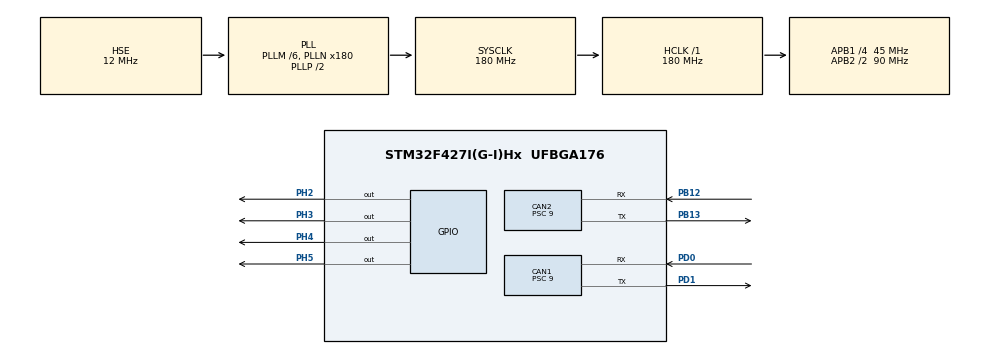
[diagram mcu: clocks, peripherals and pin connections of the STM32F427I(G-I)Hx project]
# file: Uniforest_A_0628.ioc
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CAN1.BS1=CAN_BS1_2TQ
CAN1.BS2=CAN_BS2_2TQ
CAN1.CalculateBaudRate=1000000
CAN1.CalculateTimeBit=1000
CAN1.CalculateTimeQuantum=200.0
CAN1.Prescaler=9
CAN2.BS1=CAN_BS1_2TQ
CAN2.BS2=CAN_BS2_2TQ
CAN2.CalculateBaudRate=1000000
CAN2.CalculateTimeBit=1000
CAN2.CalculateTimeQuantum=200.0
CAN2.Prescaler=9
Mcu.Family=STM32F4
Mcu.Name=STM32F427I(G-I)Hx
Mcu.Package=UFBGA176
NVIC.PriorityGroup=NVIC_PRIORITYGROUP_4
PA13.Mode=Serial_Wire
PA13.Signal=SYS_JTMS-SWDIO
PA14.Mode=Serial_Wire
PA14.Signal=SYS_JTCK-SWCLK
PB12.Mode=CAN_Activate
PB12.Signal=CAN2_RX
PB13.Mode=CAN_Activate
PB13.Signal=CAN2_TX
PD0.Mode=CAN_Activate
PD0.Signal=CAN1_RX
PD1.Mode=CAN_Activate
PD1.Signal=CAN1_TX
PH0/OSC_IN.Mode=HSE-External-Oscillator
PH0/OSC_IN.Signal=RCC_OSC_IN
PH1/OSC_OUT.Mode=HSE-External-Oscillator
PH1/OSC_OUT.Signal=RCC_OSC_OUT
PH2.GPIO_PuPd=GPIO_PULLUP
PH2.Signal=GPIO_Output
PH3.GPIO_PuPd=GPIO_PULLUP
PH3.Signal=GPIO_Output
PH4.GPIO_PuPd=GPIO_PULLUP
PH4.Signal=GPIO_Output
PH5.GPIO_PuPd=GPIO_PULLUP
PH5.Signal=GPIO_Output
ProjectManager.HeapSize=0x200
ProjectManager.StackSize=0x400
ProjectManager.TargetToolchain=CMake
RCC.48MHZClocksFreq_Value=90000000
RCC.AHBFreq_Value=180000000
RCC.APB1CLKDivider=RCC_HCLK_DIV4
RCC.APB1Freq_Value=45000000
RCC.APB1TimFreq_Value=90000000
RCC.APB2CLKDivider=RCC_HCLK_DIV2
RCC.APB2Freq_Value=90000000
RCC.APB2TimFreq_Value=180000000
RCC.CortexFreq_Value=180000000
RCC.HCLKFreq_Value=180000000
RCC.HSE_VALUE=12000000
RCC.HSI_VALUE=16000000
RCC.LSE_VALUE=32768
RCC.PLLM=6
RCC.PLLN=180
RCC.PLLSourceVirtual=RCC_PLLSOURCE_HSE
RCC.SYSCLKFreq_VALUE=180000000
RCC.SYSCLKSource=RCC_SYSCLKSOURCE_PLLCLK
RCC.VCOOutputFreq_Value=360000000
board=custom

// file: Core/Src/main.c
/* USER CODE BEGIN Header */
/**
  ******************************************************************************
  * @file           : main.c
  * @brief          : Main program body
  ******************************************************************************
  * @attention
  *
  * Copyright (c) 2026 STMicroelectronics.
  * All rights reserved.
  *
  * This software is licensed under terms that can be found in the LICENSE file
  * in the root directory of this software component.
  * If no LICENSE file comes with this software, it is provided AS-IS.
  *
  ******************************************************************************
  */
/* USER CODE END Header */
#include "main.h"
#include "can.h"
#include "gpio.h"

/* USER CODE BEGIN Includes */
#include "motor3508.h"
#include "remote_control.h"
#include "servo.h"
#include "stepper.h"
#include "actions.h"
#include "imu.h"
/* USER CODE END Includes */

/* USER CODE BEGIN PD */

/* ---- Control Timing ---- */
#define PID_DT               0.001f /* PID loop period: 1 ms (1000 Hz) */

/* USER CODE END PD */

/* USER CODE BEGIN PV */

static TIM_HandleTypeDef buzzer_tim = { .Instance = TIM12 };
static uint8_t  g_ch6_armed   = 1;   /* CH6 centre → armed; action/RC-key → disarmed */
static uint8_t  g_ch6_trig_cnt = 0;  /* trigger debounce: consecutive action-zone samples */
#define CH6_TRIG_DEBOUNCE_CNT   2    /* ~20 ms stable in action zone before firing */

/* USER CODE END PV */

void SystemClock_Config(void);

int main(void)
{

  /* MCU Configuration--------------------------------------------------------*/

  /* Reset of all peripherals, Initializes the Flash interface and the Systick. */
  HAL_Init();

  /* Configure the system clock */
  SystemClock_Config();

  /* Initialize all configured peripherals */
  MX_GPIO_Init();
  MX_CAN1_Init();
  MX_CAN2_Init();
  /* USER CODE BEGIN 2 */

  /* ---- Initialize Chassis Motors (CAN1 + DC24V power) ---- */
  Motor3508_Init();

  /* ---- Initialize Servos (TIM2 + TIM5 PWM, 50 Hz) ---- */
  Servo_Init();

  /* ---- Initialize Stepper Motors (GPIO) ---- */
  Stepper_Init();

  /* ---- A-board LEDs: RED=PE11, GREEN=PF14 (active-low: 0=ON) ---- */
  {
      GPIO_InitTypeDef l = {0};
      l.Mode  = GPIO_MODE_OUTPUT_PP;
      l.Pull  = GPIO_NOPULL;
      l.Speed = GPIO_SPEED_FREQ_LOW;

      __HAL_RCC_GPIOE_CLK_ENABLE();
      l.Pin = GPIO_PIN_11;
      HAL_GPIO_Init(GPIOE, &l);
      HAL_GPIO_WritePin(GPIOE, GPIO_PIN_11, GPIO_PIN_SET);  /* off */

      __HAL_RCC_GPIOF_CLK_ENABLE();
      l.Pin = GPIO_PIN_14;
      HAL_GPIO_Init(GPIOF, &l);
      HAL_GPIO_WritePin(GPIOF, GPIO_PIN_14, GPIO_PIN_SET);  /* off */
  }

  /* Allow everything to stabilize (C620 self-check already done in Motor3508_Init) */
  HAL_Delay(1000);

  /* Home all servos to idle positions */
  Actions_ServoHome();

  /* ---- Initialize JY61P IMU (USART2, PD5=TX, PD6=RX) ---- */
  uint8_t imu_status = IMU_Init();
  if (imu_status != IMU_OK)
  {
      for (uint8_t i = 0; i < imu_status; i++)
      {
          HAL_GPIO_WritePin(GPIOE, GPIO_PIN_11, GPIO_PIN_RESET);
          HAL_Delay(80);
          HAL_GPIO_WritePin(GPIOE, GPIO_PIN_11, GPIO_PIN_SET);
          HAL_Delay(80);
      }
  }
  else
  {
      uint32_t imu_t0 = HAL_GetTick();
      while (!IMU_IsReady() && (HAL_GetTick() - imu_t0 < 500))
      {
          IMU_Update();
          HAL_Delay(5);
      }
      if (IMU_IsReady())
      {
          HAL_GPIO_WritePin(GPIOF, GPIO_PIN_14, GPIO_PIN_RESET);
          HAL_Delay(200);
          HAL_GPIO_WritePin(GPIOF, GPIO_PIN_14, GPIO_PIN_SET);
      }
  }

  /* ---- Initialize RC SBUS receiver ---- */
  Remote_Control_Init();

  /* ---- Ready: green LED flash ---- */
  HAL_GPIO_WritePin(GPIOF, GPIO_PIN_14, GPIO_PIN_RESET);
  HAL_Delay(200);
  HAL_GPIO_WritePin(GPIOF, GPIO_PIN_14, GPIO_PIN_SET);

  /* ---- Buzzer: PH6 = TIM12_CH1, 3 kHz PWM ---- */
  {
      __HAL_RCC_TIM12_CLK_ENABLE();
      __HAL_RCC_GPIOH_CLK_ENABLE();

      GPIO_InitTypeDef g = {0};
      g.Mode      = GPIO_MODE_AF_PP;
      g.Pull      = GPIO_NOPULL;
      g.Speed     = GPIO_SPEED_FREQ_LOW;
      g.Alternate = GPIO_AF9_TIM12;
      g.Pin       = GPIO_PIN_6;
      HAL_GPIO_Init(GPIOH, &g);

      buzzer_tim.Init.Prescaler         = 29;       /* 90 MHz / 30 = 3 MHz */       /* 180 MHz / 60 = 3 MHz */
      buzzer_tim.Init.CounterMode       = TIM_COUNTERMODE_UP;
      buzzer_tim.Init.Period            = 999;      /* 3 MHz / 1000 = 3 kHz */
      buzzer_tim.Init.ClockDivision     = TIM_CLOCKDIVISION_DIV1;
      buzzer_tim.Init.AutoReloadPreload = TIM_AUTORELOAD_PRELOAD_ENABLE;
      HAL_TIM_PWM_Init(&buzzer_tim);

      TIM_OC_InitTypeDef oc = {0};
      oc.OCMode     = TIM_OCMODE_PWM1;
      oc.Pulse      = 500;                         /* 50% duty */
      oc.OCPolarity = TIM_OCPOLARITY_HIGH;
      oc.OCFastMode = TIM_OCFAST_DISABLE;
      HAL_TIM_PWM_ConfigChannel(&buzzer_tim, &oc, TIM_CHANNEL_1);
  }

  /* ---- Arming Phase 1: sticks to corners (CH1+CH2+CH4 > 1900us), CH6 1400-1600us ---- */
  while (1)
  {
      Motor3508_RxPoll();
      IMU_Update();
      if (SBUS_IsValid())
      {
          uint16_t ch6 = SBUS_GetChannel(5);
          if (SBUS_GetChannel(1) > SBUS_ARM_THRESHOLD &&   /* CH2: forward */
              SBUS_GetChannel(0) > SBUS_ARM_THRESHOLD &&   /* CH1: lateral */
              SBUS_GetChannel(3) > SBUS_ARM_THRESHOLD &&   /* CH4: rotation */
              ch6 > SBUS_CH6_ARM_LOW &&                     /* CH6 > 1400us */
              ch6 < SBUS_CH6_ARM_HIGH)                      /* CH6 < 1600us */
              break;
      }
      HAL_Delay(10);
  }

  /* ---- Arming Phase 2: sticks return to center (1024 ± 200), CH6 1400-1600us ---- */
  while (1)
  {
      Motor3508_RxPoll();
      IMU_Update();
      if (SBUS_IsValid())
      {
          uint16_t ch1 = SBUS_GetChannel(0);
          uint16_t ch2 = SBUS_GetChannel(1);
          uint16_t ch3 = SBUS_GetChannel(2);
          uint16_t ch4 = SBUS_GetChannel(3);
          uint16_t ch6 = SBUS_GetChannel(5);
          if (ch1 > 824 && ch1 < 1224 &&
              ch2 > 824 && ch2 < 1224 &&
              ch3 > 824 && ch3 < 1224 &&
              ch4 > 824 && ch4 < 1224 &&
              ch6 > SBUS_CH6_ARM_LOW &&
              ch6 < SBUS_CH6_ARM_HIGH)
              break;
      }
      HAL_Delay(10);
  }

  /* Armed: buzzer beep 200 ms */
  HAL_TIM_PWM_Start(&buzzer_tim, TIM_CHANNEL_1);
  HAL_Delay(200);
  HAL_TIM_PWM_Stop(&buzzer_tim, TIM_CHANNEL_1);

  /* USER CODE END 2 */

  /* Infinite loop */
  while (1)
  {

    /* USER CODE BEGIN 3 */

    /* ---- Poll CAN and IMU ---- */
    Motor3508_RxPoll();
    IMU_Update();

    /* ---- CH6 mode dispatch ---- */
    if (SBUS_IsValid())
    {
        uint16_t ch6 = SBUS_GetChannel(5);

        /* Arm when CH6 is in the centre safe zone (action wait-loop already debounces) */
        if (ch6 > SBUS_CH6_ARM_LOW && ch6 < SBUS_CH6_ARM_HIGH)
            g_ch6_armed = 1;

        if (ch6 > SBUS_CH6_HIGH)
        {
            /* Grap zone — debounced trigger */
            if (g_ch6_armed)
            {
                if (g_ch6_trig_cnt < CH6_TRIG_DEBOUNCE_CNT)
                    g_ch6_trig_cnt++;
                if (g_ch6_trig_cnt >= CH6_TRIG_DEBOUNCE_CNT)
                {
                    g_ch6_armed    = 0;
                    g_ch6_trig_cnt = 0;
                    Actions_Grap();
                }
            }
        }
        else if (ch6 < SBUS_CH6_LOW)
        {
            /* Build zone — debounced trigger */
            if (g_ch6_armed)
            {
                if (g_ch6_trig_cnt < CH6_TRIG_DEBOUNCE_CNT)
                    g_ch6_trig_cnt++;
                if (g_ch6_trig_cnt >= CH6_TRIG_DEBOUNCE_CNT)
                {
                    g_ch6_armed    = 0;
                    g_ch6_trig_cnt = 0;
                    Actions_Build();
                }
            }
        }
        else
        {
            /* RC zone */
            g_ch6_trig_cnt = 0;
            Remote_Control();
            /* If CH6 still centre after RC exit → key-press → disarm */
            uint16_t ch6_after = SBUS_GetChannel(5);
            if (ch6_after > SBUS_CH6_ARM_LOW && ch6_after < SBUS_CH6_ARM_HIGH)
                g_ch6_armed = 0;
        }
    }

    HAL_Delay(10);
  }
  /* USER CODE END 3 */
}

void SystemClock_Config(void)
{
  RCC_OscInitTypeDef RCC_OscInitStruct = {0};
  RCC_ClkInitTypeDef RCC_ClkInitStruct = {0};

  /** Configure the main internal regulator output voltage
  */
  __HAL_RCC_PWR_CLK_ENABLE();
  __HAL_PWR_VOLTAGESCALING_CONFIG(PWR_REGULATOR_VOLTAGE_SCALE1);

  /** Initializes the RCC Oscillators according to the specified parameters
  * in the RCC_OscInitTypeDef structure.
  */
  RCC_OscInitStruct.OscillatorType = RCC_OSCILLATORTYPE_HSE;
  RCC_OscInitStruct.HSEState = RCC_HSE_ON;
  RCC_OscInitStruct.PLL.PLLState = RCC_PLL_ON;
  RCC_OscInitStruct.PLL.PLLSource = RCC_PLLSOURCE_HSE;
  RCC_OscInitStruct.PLL.PLLM = 6;
  RCC_OscInitStruct.PLL.PLLN = 180;
  RCC_OscInitStruct.PLL.PLLP = RCC_PLLP_DIV2;
  RCC_OscInitStruct.PLL.PLLQ = 4;
  if (HAL_RCC_OscConfig(&RCC_OscInitStruct) != HAL_OK)
  {
    Error_Handler();
  }

  /** Activate the Over-Drive mode
  */
  if (HAL_PWREx_EnableOverDrive() != HAL_OK)
  {
    Error_Handler();
  }

  /** Initializes the CPU, AHB and APB buses clocks
  */
  RCC_ClkInitStruct.ClockType = RCC_CLOCKTYPE_HCLK|RCC_CLOCKTYPE_SYSCLK
                              |RCC_CLOCKTYPE_PCLK1|RCC_CLOCKTYPE_PCLK2;
  RCC_ClkInitStruct.SYSCLKSource = RCC_SYSCLKSOURCE_PLLCLK;
  RCC_ClkInitStruct.AHBCLKDivider = RCC_SYSCLK_DIV1;
  RCC_ClkInitStruct.APB1CLKDivider = RCC_HCLK_DIV4;
  RCC_ClkInitStruct.APB2CLKDivider = RCC_HCLK_DIV2;

  if (HAL_RCC_ClockConfig(&RCC_ClkInitStruct, FLASH_LATENCY_5) != HAL_OK)
  {
    Error_Handler();
  }
}

void Error_Handler(void)
{
  __disable_irq();
  while (1)
  {
  }
}
